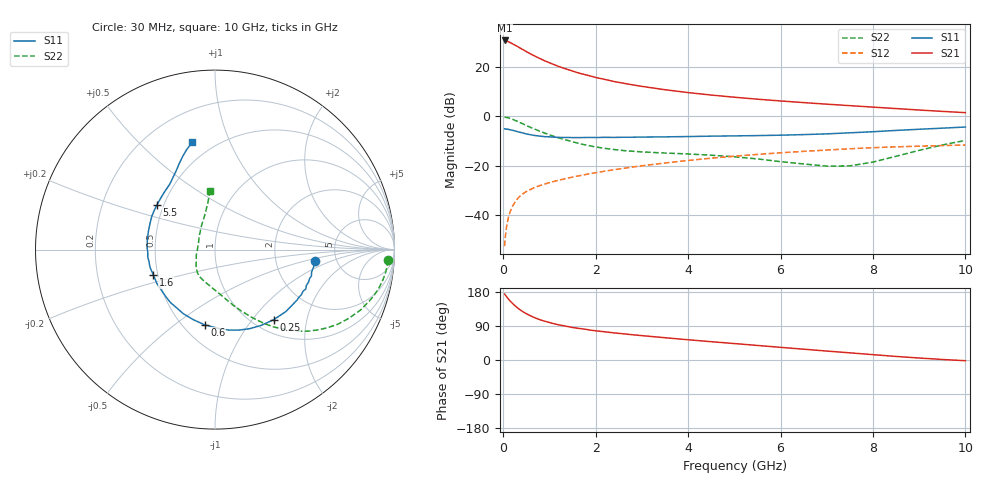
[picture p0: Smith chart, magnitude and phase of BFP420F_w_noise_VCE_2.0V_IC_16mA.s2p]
! Infineon Technologies  Discrete & RF Semiconductors
! BFP420F
! VCE =  2.0 V,  IC =  16 mA
! Common Emitter S-Parameters:  Sep 2011
# GHz  S  MA  R  50
!  f  S11  S21  S12  S22
! GHz  MAG  ANG  MAG  ANG  MAG  ANG  MAG  ANG
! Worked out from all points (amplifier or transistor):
!   54 points, 30 MHz to 10 GHz, reference 50 ohm
!   highest |S21| = 30.9 dB at 30 MHz (marker M1)
!   |S21| within 3 dB of that: start of sweep to 358.3 MHz
!   unconditionally stable (mu >= 1): 1.772 GHz to end of sweep
!   at 120 MHz: K = 0.22, MSG = 35.5 dB, |S12| = -40.5 dB
!   at 1.3 GHz: K = 0.87, MSG = 22.6 dB, |S12| = -25.5 dB
!   at 10 GHz: K = 1.25, MAG = 3.6 dB, |S12| = -11.6 dB
!   lowest NFmin = 1.40 dB at 450 MHz
!   S11 on the Smith chart (normalised r, x): 30 MHz: 3.43, -0.63; 250 MHz: 1.22, -1.29; 600 MHz: 0.63, -0.65; 1.6 GHz: 0.47, -0.16; 5.5 GHz: 0.46, +0.28; 10 GHz: 0.39, +0.73
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0.03  0.5613 -6.4  35.2 174.1  0.0023 88.3  0.9654 -3.5
0.07  0.5569 -15.3  34.47 167.7  0.0055 83.8  0.9562 -8.5
0.12  0.5428 -25.4  33 159.7  0.0094 80.4  0.9318 -14.3
0.15  0.5366 -31.6  31.84 155.6  0.0115 78.8  0.9123 -17.6
0.2  0.5247 -41.1  30.14 149.5  0.0149 75.2  0.8778 -22.6
0.25  0.5092 -50.1  28.35 143.6  0.0177 72.3  0.8388 -27.1
0.3  0.4944 -58.7  26.83 138.5  0.0208 69.9  0.8014 -31.2
0.4  0.4676 -73.7  23.63 129.5  0.0256 65.9  0.7255 -38.1
0.5  0.442 -86.5  20.92 122.2  0.0297 63.0  0.6563 -43.8
0.6  0.423 -97.9  18.57 116.0  0.0332 61.1  0.5945 -48.5
0.7  0.4081 -107.7  16.67 110.7  0.0366 59.8  0.5437 -52.6
0.8  0.3985 -116.3  14.99 106.0  0.0395 59.0  0.4978 -56.1
1  0.3854 -130.1  12.37 98.9  0.0451 58.3  0.4239 -62.0
1.2  0.3754 -141.4  10.41 92.8  0.0505 57.7  0.368 -67.3
1.6  0.3721 -157.6  7.818 84.0  0.0611 57.5  0.2894 -76.7
1.7  0.3721 -160.6  7.377 82.4  0.0637 57.4  0.2739 -78.9
2.4  0.3748 -177.6  5.143 71.5  0.0827 56.3  0.2127 -94.7
3.5  0.3848 164.6  3.501 58.8  0.1133 52.8  0.1804 -113.5
5.5  0.4085 142.3  2.249 38.4  0.1691 42.3  0.137 -140.5
7  0.4427 124.8  1.78 23.6  0.2077 32.8  0.0977 178.5
8.5  0.5206 112.4  1.448 9.4  0.2412 22.3  0.1551 118.7
10  0.6103 102.1  1.197 -1.9  0.2631 13.2  0.3256 95.0
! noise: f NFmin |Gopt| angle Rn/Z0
0.45  1.4  0.11  177  0.19
0.9  1.41  0.12  171  0.13
1.9  1.53  0.22  -175  0.14
2.4  1.59  0.22  -173  0.12
3.5  1.84  0.26  -161  0.16
